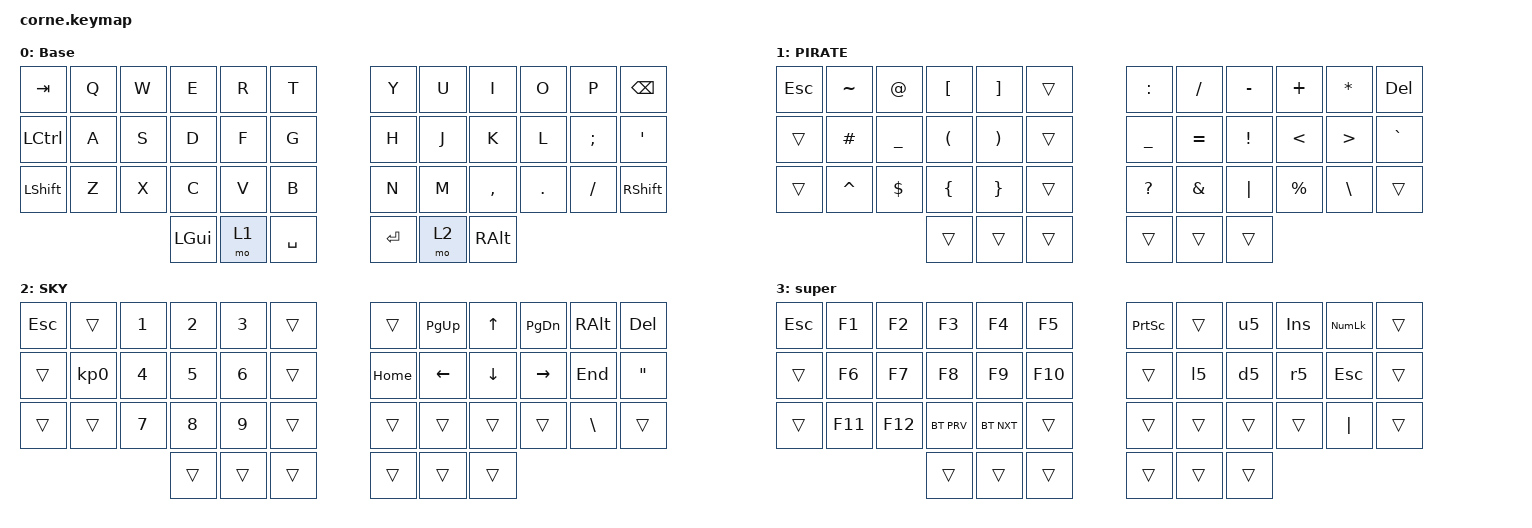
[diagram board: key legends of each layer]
#include <behaviors.dtsi>
#include <dt-bindings/zmk/bt.h>
#include <dt-bindings/zmk/keys.h>

/ {
  macros {
        u5: u5 {
            compatible = "zmk,behavior-macro";
            label = "U5";
            #binding-cells = <0>;
            bindings = <&kp UP_ARROW &kp UP &kp UP &kp UP_ARROW &kp UP_ARROW>;
        };
        d5: d5 {
            compatible = "zmk,behavior-macro";
            label = "D5";
            #binding-cells = <0>;
            bindings = <&kp DOWN &kp DOWN &kp DOWN &kp DOWN &kp DOWN>;
        };
        l5: l5 {
            compatible = "zmk,behavior-macro";
            label = "L5";
            #binding-cells = <0>;
            bindings = <&kp LEFT &kp LEFT &kp LEFT &kp LEFT &kp LEFT>;
        };
        r5: r5 {
            compatible = "zmk,behavior-macro";
            label = "R5";
            #binding-cells = <0>;
            bindings = <&kp RIGHT &kp RIGHT &kp RIGHT &kp RIGHT &kp RIGHT_ARROW>;
        };
  };

  combos {
        compatible = "zmk,combos";
        btclear {
            bindings = <&bt BT_CLR>;
            key-positions = <6 18 30>;
            layers = <3>;
        };
  };

  keymap {
    compatible = "zmk,keymap";

    default_layer {
      label = "Base";
      bindings = <
&kp TAB    &kp Q  &kp W  &kp E     &kp R  &kp T      &kp Y    &kp U  &kp I      &kp O    &kp P     &kp BSPC
&kp LCTRL  &kp A  &kp S  &kp D     &kp F  &kp G      &kp H    &kp J  &kp K      &kp L    &kp SEMI  &kp SQT
&kp LSHFT  &kp Z  &kp X  &kp C     &kp V  &kp B      &kp N    &kp M  &kp COMMA  &kp DOT  &kp FSLH  &kp RIGHT_SHIFT
                         &kp LGUI  &mo 1  &kp SPACE  &kp RET  &mo 2  &kp RALT
      >;
    };
    pirate {
      label = "PIRATE";
      bindings = <
&kp ESCAPE  &kp TILDE  &kp AT          &kp LEFT_BRACKET      &kp RIGHT_BRACKET      &trans  &kp COLON  &kp SLASH  &kp MINUS  &kp PLUS       &kp ASTERISK   &kp DELETE
&trans      &kp HASH   &kp UNDERSCORE  &kp LEFT_PARENTHESIS  &kp RIGHT_PARENTHESIS  &trans  &kp UNDER  &kp EQUAL  &kp EXCL   &kp LESS_THAN  &kp GT         &kp GRAVE
&trans      &kp CARET  &kp DOLLAR      &kp LEFT_BRACE        &kp RIGHT_BRACE        &trans  &kp QMARK  &kp AMPS   &kp PIPE   &kp PERCENT    &kp BACKSLASH  &trans
                                       &trans                &trans                 &trans  &trans     &trans     &trans
      >;
    };
    sky {
      label = "SKY";
      bindings = <
&kp ESCAPE  &trans           &kp N1  &kp N2  &kp N3  &trans  &trans    &kp PG_UP  &kp UP    &kp PG_DN  &kp RIGHT_ALT  &kp DELETE
&trans      &kp KP_NUMBER_0  &kp N4  &kp N5  &kp N6  &trans  &kp HOME  &kp LEFT   &kp DOWN  &kp RIGHT  &kp END        &kp DOUBLE_QUOTES
&trans      &trans           &kp N7  &kp N8  &kp N9  &trans  &trans    &trans     &trans    &trans     &kp BACKSLASH  &trans
                                     &trans  &trans  &trans  &trans    &trans     &trans
      >;
    };
    super {
      label = "super";
      bindings = <
&kp ESCAPE  &kp F1   &kp F2   &kp F3      &kp F4      &kp F5   &kp PRINTSCREEN  &trans  &u5     &kp INSERT  &kp KP_NUMLOCK  &trans
&trans      &kp F6   &kp F7   &kp F8      &kp F9      &kp F10  &trans           &l5     &d5     &r5         &kp ESCAPE      &trans
&trans      &kp F11  &kp F12  &bt BT_PRV  &bt BT_NXT  &trans   &trans           &trans  &trans  &trans      &kp PIPE        &trans
                              &trans      &trans      &trans   &trans           &trans  &trans
      >;
    };
  };

  conditional_layers {
  compatible = "zmk,conditional-layers";
        superraise {
            if-layers = <2 1>;
            then-layer = <3>;
        };
  };
};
